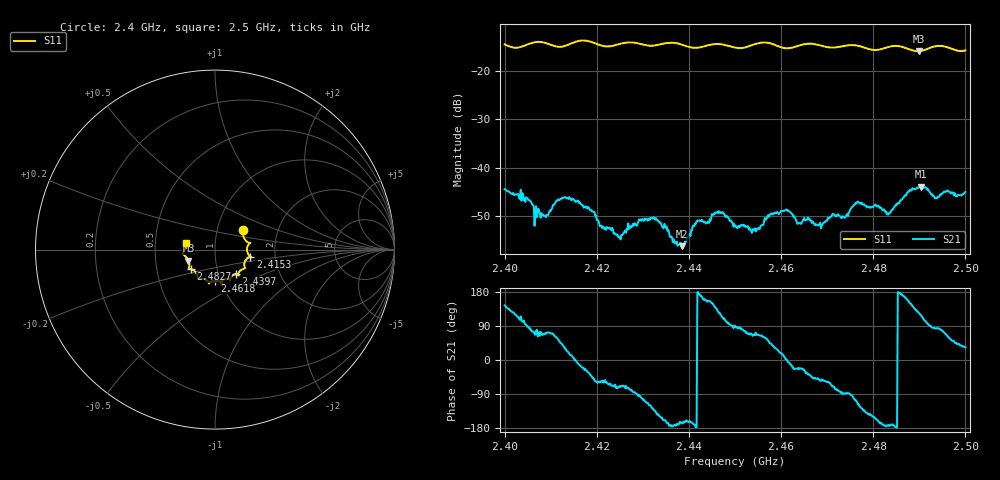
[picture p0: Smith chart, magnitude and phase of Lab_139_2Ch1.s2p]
# Hz S RI R 50
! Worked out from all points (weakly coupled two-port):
!   601 points, 2.4 GHz to 2.5 GHz, reference 50 ohm
!   highest |S21| = -43.95 dB at 2.4903 GHz (marker M1); lowest = -56.3 dB at 2.4385 GHz (marker M2)
!   lowest |S11| = -15.9 dB at 2.4898 GHz (marker M3), VSWR 1.38, Z = 36.9 - j4.6 ohm
!   |S11| at or under -10 dB: start of sweep to end of sweep
!   S12 and S22 are empty: the file has one direction only
!   S11 on the Smith chart (normalised r, x): 2.4 GHz: 1.33, +0.30; 2.4153 GHz: 1.48, -0.12; 2.4397 GHz: 1.21, -0.34; 2.4618 GHz: 0.94, -0.33; 2.4827 GHz: 0.75, -0.17; 2.5 GHz: 0.72, +0.06
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2.4e9  0.1553 0.1071  -0.00485 0.00349  0 0  0 0
2.408333e9  0.1947 0.0366  0.00115 0.00297  0 0  0 0
2.412667e9  0.1791 -0.00979  0.00377 0.00299  0 0  0 0
2.415333e9  0.1963 -0.0387  0.00442 8.26e-05  0 0  0 0
2.416667e9  0.2024 -0.0428  0.00396 -0.00123  0 0  0 0
2.424667e9  0.164 -0.0938  0.000591 -0.00181  0 0  0 0
2.433333e9  0.1306 -0.1337  -0.00222 -0.00167  0 0  0 0
2.4385e9  0.1262 -0.1384  -0.00148 -0.000393  0 0  0 0
2.439667e9  0.1169 -0.136  -0.00177 -0.000577  0 0  0 0
2.446167e9  0.085 -0.1704  -0.00227 0.00262  0 0  0 0
2.45e9  0.0652 -0.1625  -2.7e-05 0.00245  0 0  0 0
2.454e9  0.0354 -0.1843  0.000906 0.00205  0 0  0 0
2.461833e9  -0.00276 -0.1724  0.00347 -0.000482  0 0  0 0
2.466667e9  -0.0343 -0.1883  0.00186 -0.00192  0 0  0 0
2.474e9  -0.0881 -0.1604  0.00012 -0.00311  0 0  0 0
2.476667e9  -0.0959 -0.1555  -0.00202 -0.00397  0 0  0 0
2.482667e9  -0.1353 -0.1091  -0.00343 -0.000288  0 0  0 0
2.483333e9  -0.1404 -0.1088  -0.00323 -0.000496  0 0  0 0
2.489833e9  -0.148 -0.0608  -0.0036 0.00513  0 0  0 0
2.490333e9  -0.1517 -0.054  -0.00299 0.0056  0 0  0 0
2.493667e9  -0.1795 -0.0238  0.000526 0.00487  0 0  0 0
2.5e9  -0.1591 0.0389  0.00471 0.00303  0 0  0 0
